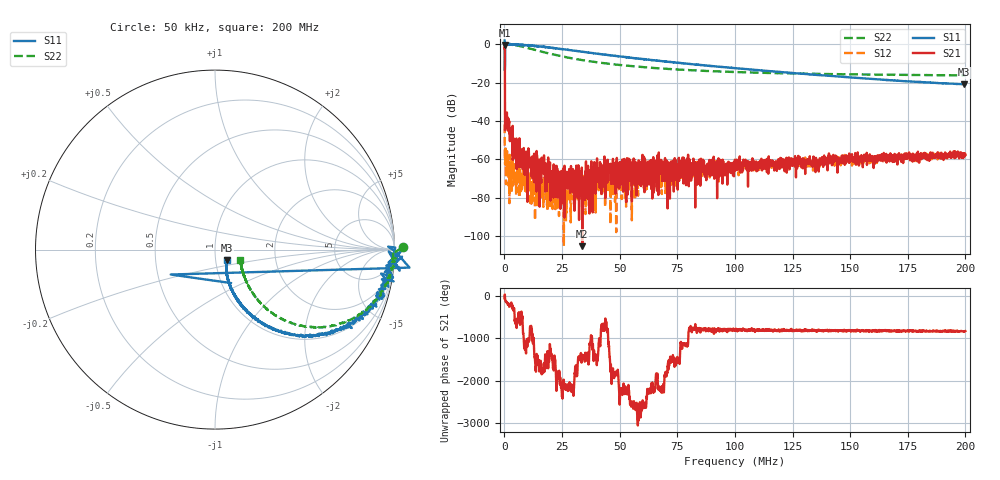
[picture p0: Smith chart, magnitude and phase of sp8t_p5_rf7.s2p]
! 26-Feb-26 12:22:24 PM
! E:\VNA_MEASUREMENTS\SP8T\SP8T_P5_RF7.S2P
! CHANNEL.1
! TR.MEASUREMENT
! CORRECTED.DATA
# GHZ S RI R 50.0
! FREQ.GHZ  S11RE  S11IM  S21RE  S21IM  S12RE  S12IM  S22RE  S22IM
!; PortSelection: Port_12
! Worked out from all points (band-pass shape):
!   2000 points, 50 kHz to 200 MHz, reference 50 ohm
!   highest |S21| = -0.36 dB at 150 kHz (marker M1); lowest = -105.3 dB at 33.76 MHz (marker M2)
!   |S21| within 3 dB of the highest: start of sweep to 156.8 kHz
!   lowest |S11| = -20.9 dB at 199.5 MHz (marker M3), VSWR 1.20, Z = 56.7 - j6.91 ohm
!   |S11| at or under -10 dB: 126.4 kHz to 258.2 kHz (131.9 kHz wide, 68.6 % of centre); 77.84913 MHz to 78.0918 MHz (242.7 kHz wide, 0.311 % of centre); 78.2 MHz to end of sweep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
!   |S22| runs from -16.3 to 0.4 dB; largest |S21 - S12| = 0.96
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5e-05  0.9316 0.8372  0.5162 -0.5959  0.00754 -0.00301  1.045 0.0131
0.000150025  0.0888 -0.1865  0.7235 0.6295  -0.00111 -0.000504  1.006 -0.0129
0.0012503  0.9677 -0.0107  -0.0123 -0.00297  0.000713 0.000613  0.9857 -0.086
0.004251051  0.9584 -0.147  0.00258 0.00127  0.000202 -0.000173  0.922 -0.2546
0.006951726  0.9206 -0.2269  4.3e-05 0.000714  -0.00018 -0.000237  0.8106 -0.3574
0.01715428  0.7336 -0.4178  0.00105 0.0007  -0.000255 -0.000136  0.4562 -0.4176
0.02025505  0.6681 -0.4521  0.000437 0.000212  0.000263 0.000182  0.3925 -0.3959
0.03345835  0.429 -0.4724  -7.53e-05 -7.41e-05  0.000154 3.25e-05  0.2519 -0.2951
0.03375843  0.4283 -0.4735  3.6e-06 -4.1e-06  0.000169 4.29e-05  0.2498 -0.2938
0.04526131  0.2964 -0.4275  -0.000329 -0.000442  0.000198 -0.000253  0.2039 -0.2335
0.05246311  0.2384 -0.3991  0.000456 1.05e-05  0.000132 -0.000349  0.1877 -0.2049
0.05396348  0.2289 -0.3844  6.93e-05 -0.000634  7.86e-05 -0.000131  0.1853 -0.1999
0.05606401  0.221 -0.3726  0.00053 -0.000909  0.000201 -9.22e-05  0.1819 -0.1936
0.05916478  0.2004 -0.3609  0.000135 0.000338  0.00038 -0.000273  0.1768 -0.1841
0.06676668  0.1654 -0.3326  9.05e-05 7.51e-05  0.00022 -0.000563  0.1695 -0.165
0.07166791  0.1497 -0.3099  0.00026 -0.000471  0.000169 -0.000395  0.1643 -0.1537
0.07316828  0.1425 -0.3053  -0.000182 -0.000551  -6.29e-05 -0.000396  0.1633 -0.151
0.100075  0.0916 -0.2203  -8.2e-05 -0.000753  0.000135 -0.000704  0.1514 -0.1126
0.1333833  0.0681 -0.1474  -0.000192 -0.000671  6.6e-05 -0.000648  0.1457 -0.0862
0.1666917  0.063 -0.0978  -7.65e-05 -0.00102  -0.000144 -0.00103  0.1439 -0.0713
0.1994999  0.0667 -0.0605  -0.000626 -0.00103  -0.00046 -0.00115  0.1419 -0.0613
0.2  0.0672 -0.0603  -0.000385 -0.00126  -0.000421 -0.00133  0.142 -0.0597
